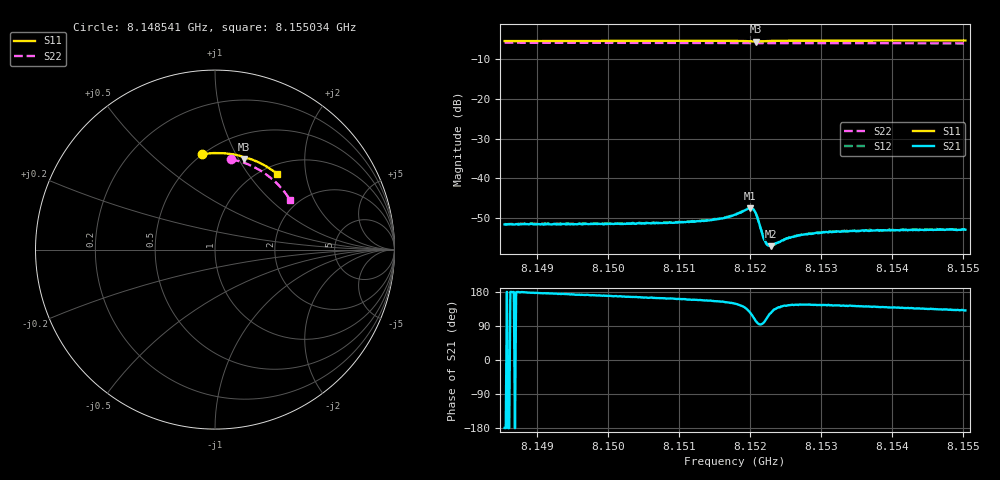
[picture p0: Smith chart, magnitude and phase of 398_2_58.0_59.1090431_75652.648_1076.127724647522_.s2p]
#  HZ  S  RI  R  50.00
! Rohde & Schwarz Vector Network Analyzer
! Rohde-Schwarz,ZNB20-2Port,1311601062101988,3.16
! Created: UTC 3/21/2024, 1:08:07 AM
! freq[Hz]  re:S11  im:S11  re:S21  im:S21  re:S12  im:S12  re:S22  im:S22
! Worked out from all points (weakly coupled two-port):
!   401 points, 8.148541 GHz to 8.155034 GHz, reference 50 ohm
!   highest |S21| = -47.56 dB at 8.151999 GHz (marker M1); lowest = -57.2 dB at 8.152291 GHz (marker M2)
!   lowest |S11| = -5.5 dB at 8.15208 GHz (marker M3), VSWR 3.24, Z = 37.8 + j52.8 ohm
!   |S11| at or under -10 dB: nowhere
!   |S22| runs from -6.0 to -5.8 dB; largest |S21 - S12| = 0.00012
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8.1485414e9  -0.075 0.5309  -0.00261 -3.06e-05  -0.00264 5.8e-06  0.0885 0.5037
8.149629e9  0.000481 0.5381  -0.00259 0.000355  -0.00262 0.000414  0.1566 0.4856
8.1507165e9  0.0759 0.5346  -0.0026 0.000785  -0.00262 0.000815  0.2208 0.4582
8.1514308e9  0.1259 0.5258  -0.0027 0.00116  -0.0027 0.00123  0.2606 0.4356
8.1516255e9  0.1397 0.5222  -0.0028 0.0014  -0.00281 0.00147  0.2711 0.4288
8.1517879e9  0.1518 0.5181  -0.00297 0.0018  -0.00297 0.00183  0.2796 0.423
8.1519989e9  0.1651 0.5065  -0.00245 0.0034  -0.00242 0.00344  0.2902 0.4148
8.1520476e9  0.1644 0.5034  -0.00153 0.00372  -0.00153 0.00375  0.2926 0.413
8.1520801e9  0.1631 0.5029  -0.000823 0.00353  -0.000819 0.00355  0.2941 0.4118
8.1521125e9  0.1624 0.5043  -0.000328 0.00296  -0.000301 0.003  0.2955 0.4107
8.1521774e9  0.165 0.508  -0.000205 0.0019  -0.000177 0.00194  0.2989 0.4084
8.1522099e9  0.1676 0.5092  -0.000361 0.00158  -0.000337 0.00159  0.3006 0.4072
8.1522261e9  0.1691 0.5094  -0.000452 0.00143  -0.000458 0.00147  0.3014 0.4065
8.1522586e9  0.1717 0.5099  -0.000639 0.00125  -0.000634 0.00128  0.3031 0.4054
8.1522911e9  0.1745 0.5098  -0.000769 0.00115  -0.000777 0.00118  0.3047 0.404
8.1523235e9  0.1772 0.5097  -0.000923 0.00109  -0.000923 0.00111  0.3064 0.4028
8.1525508e9  0.1945 0.5056  -0.00145 0.00103  -0.00144 0.00104  0.3177 0.3935
8.1526969e9  0.2047 0.5022  -0.00157 0.00105  -0.00157 0.0011  0.3247 0.3875
8.1528754e9  0.2167 0.4977  -0.00165 0.00112  -0.00165 0.00116  0.333 0.38
8.1532163e9  0.2388 0.4882  -0.00173 0.00125  -0.00168 0.00127  0.3486 0.3651
8.153963e9  0.2849 0.4644  -0.00166 0.00145  -0.00169 0.00149  0.38 0.3303
8.1550344e9  0.3459 0.4227  -0.00146 0.0017  -0.00149 0.0017  0.4191 0.2757
